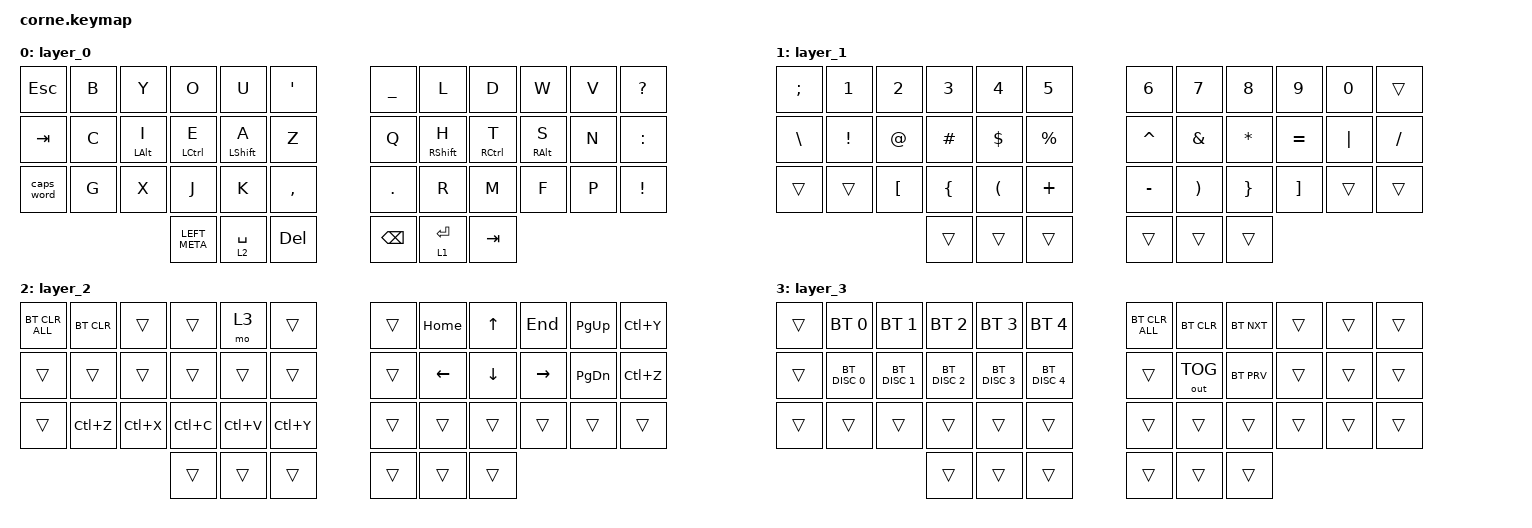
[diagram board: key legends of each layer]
/*
 * Copyright (c) 2020 The ZMK Contributors
 *
 * SPDX-License-Identifier: MIT
 */

#include <behaviors.dtsi>
#include <dt-bindings/zmk/bt.h>
#include <dt-bindings/zmk/keys.h>
#include <dt-bindings/zmk/outputs.h>

/ {
    combos {
        compatible = "zmk,combos";

        Semicolon {
            bindings = <&kp SEMICOLON>;
            key-positions = <29 30>;
            layers = <0>;
        };

        BT {
            bindings = <&sl 3>;
            key-positions = <37 40>;
        };
    };

    macros {
        ControlX: ControlX {
            compatible = "zmk,behavior-macro";
            #binding-cells = <0>;
            bindings = <&kp LC(X)>;
            label = "CONTROLX";
        };
    };

    keymap {
        compatible = "zmk,keymap";

        layer_0 {
            bindings = <
&kp ESC     &kp B  &kp Y           &kp O               &kp U             &kp APOS     &kp UNDERSCORE  &kp L              &kp D                &kp W            &kp V  &kp QUESTION
&kp TAB     &kp C  &mt LEFT_ALT I  &mt LEFT_CONTROL E  &mt LEFT_SHIFT A  &kp Z        &kp Q           &mt RIGHT_SHIFT H  &mt RIGHT_CONTROL T  &mt RIGHT_ALT S  &kp N  &kp COLON
&caps_word  &kp G  &kp X           &kp J               &kp K             &kp COMMA    &kp PERIOD      &kp R              &kp M                &kp F            &kp P  &kp EXCL
                                   &kp LEFT_META       &lt 2 SPACE       &kp DEL      &kp BACKSPACE   &lt 1 ENTER        &kp TAB
            >;
        };

        layer_1 {
            bindings = <
&kp SEMI       &kp N1           &kp N2            &kp N3          &kp N4                &kp N5         &kp N6     &kp N7                 &kp N8           &kp N9             &kp N0    &trans
&kp BACKSLASH  &kp EXCLAMATION  &kp AT_SIGN       &kp HASH        &kp DOLLAR            &kp PERCENT    &kp CARET  &kp AMPERSAND          &kp ASTERISK     &kp EQUAL          &kp PIPE  &kp SLASH
&trans         &trans           &kp LEFT_BRACKET  &kp LEFT_BRACE  &kp LEFT_PARENTHESIS  &kp PLUS       &kp MINUS  &kp RIGHT_PARENTHESIS  &kp RIGHT_BRACE  &kp RIGHT_BRACKET  &trans    &trans
                                                  &trans          &trans                &trans         &trans     &trans                 &trans
            >;
        };

        layer_2 {
            bindings = <
&bt BT_CLR_ALL  &bt BT_CLR  &trans     &trans     &mo 3      &trans       &trans  &kp HOME        &kp UP_ARROW    &kp END          &kp PAGE_UP    &kp LC(Y)
&trans          &trans      &trans     &trans     &trans     &trans       &trans  &kp LEFT_ARROW  &kp DOWN_ARROW  &kp RIGHT_ARROW  &kp PAGE_DOWN  &kp LC(Z)
&trans          &kp LC(Z)   &kp LC(X)  &kp LC(C)  &kp LC(V)  &kp LC(Y)    &trans  &trans          &trans          &trans           &trans         &trans
                                       &trans     &trans     &trans       &trans  &trans          &trans
            >;
        };

        layer_3 {
            bindings = <
&trans  &bt BT_SEL 0   &bt BT_SEL 1   &bt BT_SEL 2   &bt BT_SEL 3   &bt BT_SEL 4     &bt BT_CLR_ALL  &bt BT_CLR    &bt BT_NXT  &trans  &trans  &trans
&trans  &bt BT_DISC 0  &bt BT_DISC 1  &bt BT_DISC 2  &bt BT_DISC 3  &bt BT_DISC 4    &trans          &out OUT_TOG  &bt BT_PRV  &trans  &trans  &trans
&trans  &trans         &trans         &trans         &trans         &trans           &trans          &trans        &trans      &trans  &trans  &trans
                                      &trans         &trans         &trans           &trans          &trans        &trans
            >;
        };
    };
};
